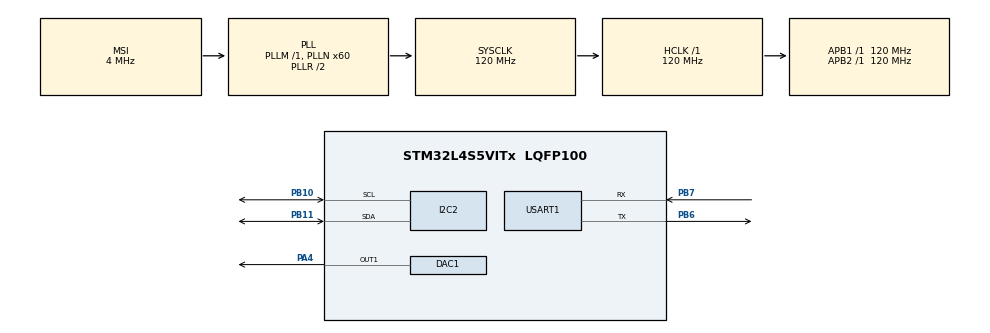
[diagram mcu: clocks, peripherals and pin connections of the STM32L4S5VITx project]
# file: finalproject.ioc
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DAC1.DAC_Trigger-DAC_OUT1=DAC_TRIGGER_T2_TRGO
Dma.DAC1_CH1.0.Direction=DMA_MEMORY_TO_PERIPH
Dma.DAC1_CH1.0.EventEnable=DISABLE
Dma.DAC1_CH1.0.Instance=DMA1_Channel1
Dma.DAC1_CH1.0.MemDataAlignment=DMA_MDATAALIGN_BYTE
Dma.DAC1_CH1.0.MemInc=DMA_MINC_ENABLE
Dma.DAC1_CH1.0.Mode=DMA_CIRCULAR
Dma.DAC1_CH1.0.PeriphDataAlignment=DMA_PDATAALIGN_BYTE
Dma.DAC1_CH1.0.PeriphInc=DMA_PINC_DISABLE
Dma.DAC1_CH1.0.Polarity=HAL_DMAMUX_REQUEST_GEN_RISING
Dma.DAC1_CH1.0.Priority=DMA_PRIORITY_LOW
Dma.DAC1_CH1.0.RequestNumber=1
Dma.DAC1_CH1.0.SignalID=NONE
Dma.DAC1_CH1.0.SyncEnable=DISABLE
Dma.DAC1_CH1.0.SyncPolarity=HAL_DMAMUX_SYNC_NO_EVENT
Dma.DAC1_CH1.0.SyncRequestNumber=1
Dma.DAC1_CH1.0.SyncSignalID=NONE
Dma.Request0=DAC1_CH1
I2C2.Timing=0x307075B1
Mcu.Family=STM32L4
Mcu.Name=STM32L4S5VITx
Mcu.Package=LQFP100
NVIC.DMA1_Channel1_IRQn=true\:0\:0\:false\:false\:true\:false\:true
NVIC.PriorityGroup=NVIC_PRIORITYGROUP_4
NVIC.TIM2_IRQn=true\:0\:0\:false\:false\:true\:true\:true
PA4.Signal=COMP_DAC11_group
PB10.Mode=I2C
PB10.Signal=I2C2_SCL
PB11.Mode=I2C
PB11.Signal=I2C2_SDA
PB6.Mode=Asynchronous
PB6.Signal=USART1_TX
PB7.Mode=Asynchronous
PB7.Signal=USART1_RX
ProjectManager.HeapSize=0x200
ProjectManager.StackSize=0x400
ProjectManager.TargetToolchain=STM32CubeIDE
RCC.ADCFreq_Value=48000000
RCC.AHBFreq_Value=120000000
RCC.APB1Freq_Value=120000000
RCC.APB1TimFreq_Value=120000000
RCC.APB2Freq_Value=120000000
RCC.APB2TimFreq_Value=120000000
RCC.CortexFreq_Value=120000000
RCC.HCLKFreq_Value=120000000
RCC.HSE_VALUE=8000000
RCC.HSI48_VALUE=48000000
RCC.HSI_VALUE=16000000
RCC.LSE_VALUE=32768
RCC.MSI_VALUE=4000000
RCC.PLLN=60
RCC.PLLSAI1N=24
RCC.SYSCLKFreq_VALUE=120000000
RCC.SYSCLKSource=RCC_SYSCLKSOURCE_PLLCLK
RCC.USBFreq_Value=48000000
RCC.VCOOutputFreq_Value=240000000
SH.COMP_DAC11_group.0=DAC1_OUT1,DAC_OUT1
TIM2.Period=1814
TIM2.TIM_MasterOutputTrigger=TIM_TRGO_UPDATE
USART1.VirtualMode-Asynchronous=VM_ASYNC
VP_TIM2_VS_ClockSourceINT.Mode=Internal
board=B-L4S5I-IOT01A

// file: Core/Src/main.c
/* USER CODE BEGIN Header */
/**
 ******************************************************************************
 * @file           : main.c
 * @brief          : Main program body
 ******************************************************************************
 * @attention
 *
 * <h2><center>&copy; Copyright (c) 2021 STMicroelectronics.
 * All rights reserved.</center></h2>
 *
 * This software component is licensed by ST under BSD 3-Clause license,
 * the "License"; You may not use this file except in compliance with the
 * License. You may obtain a copy of the License at:
 *                        opensource.org/licenses/BSD-3-Clause
 *
 ******************************************************************************
 */
/* USER CODE END Header */
#include "main.h"

DAC_HandleTypeDef hdac1;
DMA_HandleTypeDef hdma_dac1_ch1;

I2C_HandleTypeDef hi2c2;

TIM_HandleTypeDef htim2;

UART_HandleTypeDef huart1;

/* USER CODE BEGIN PV */
char global_buffer[100]; 				//buffer for usart transmission
char note_name[2]; 						//holds name of the current note as a string

int16_t accelero_values[3]; 			//temp array for accelerometer values
int16_t old_accelero_values[3]; 		//keep track of last accelero values for calculating change
float difference_values[3]; 			//calculating the difference values between accelerometer readings
float filtred_difference_values[3]; 	//difference values after being passed through kalman filtre

struct kalman_filtre y_pitch_filtre; 	//kalman filtre for pitch
struct kalman_filtre z_volume_filtre; 	//kalman filtre for volume

int current_note = 0; 					//for keeping track of which note is playing
int current_volume = 4; 				//for keeping track of volume level, 5 levels of volume from 0 to 4

//sample arrays for pitches, each note has 5 arrays, one for each of the volume levels, there are 8 notes total
uint8_t C6_samples_v0[43];
uint8_t C6_samples_v1[43];
uint8_t C6_samples_v2[43];
uint8_t C6_samples_v3[43];
uint8_t C6_samples_v4[43];

uint8_t D6_samples_v0[36];
uint8_t D6_samples_v1[36];
uint8_t D6_samples_v2[36];
uint8_t D6_samples_v3[36];
uint8_t D6_samples_v4[36];

uint8_t E6_samples_v0[33];
uint8_t E6_samples_v1[33];
uint8_t E6_samples_v2[33];
uint8_t E6_samples_v3[33];
uint8_t E6_samples_v4[33];

uint8_t F6_samples_v0[30];
uint8_t F6_samples_v1[30];
uint8_t F6_samples_v2[30];
uint8_t F6_samples_v3[30];
uint8_t F6_samples_v4[30];

uint8_t G6_samples_v0[27];
uint8_t G6_samples_v1[27];
uint8_t G6_samples_v2[27];
uint8_t G6_samples_v3[27];
uint8_t G6_samples_v4[27];

uint8_t A6_samples_v0[24];
uint8_t A6_samples_v1[24];
uint8_t A6_samples_v2[24];
uint8_t A6_samples_v3[24];
uint8_t A6_samples_v4[24];

uint8_t B6_samples_v0[21];
uint8_t B6_samples_v1[21];
uint8_t B6_samples_v2[21];
uint8_t B6_samples_v3[21];
uint8_t B6_samples_v4[21];

uint8_t C7_samples_v0[20];
uint8_t C7_samples_v1[20];
uint8_t C7_samples_v2[20];
uint8_t C7_samples_v3[20];
uint8_t C7_samples_v4[20];

/* USER CODE END PV */

void SystemClock_Config(void);
static void MX_GPIO_Init(void);
static void MX_DMA_Init(void);
static void MX_DAC1_Init(void);
static void MX_I2C2_Init(void);
static void MX_USART1_UART_Init(void);
static void MX_TIM2_Init(void);

/* USER CODE BEGIN 0 */

/**
 *  The note/volume array populator function. There are 8 populator functions which sample a cmsis sine wave
 *  a hardcoded amount of time. Each populator function fills the arrays at for all volume levels.
 *
 *  @params:
 *    none
 *  @return:
 *    none
 */

// populate the sine wave sampling array for a C6 tone
void C6_sample_populator() {
	for (int i = 0; i < 43; i++) {					//iterate a specified amount of times depending on the notes frequency
		float modulus = (float) i / 43;
		float radians = 6.283185 * modulus;
		radians = (arm_sin_f32(radians) + 1);		//sample using the cmsis sine function
		C6_samples_v0[i] = (uint8_t) radians * 1;	//populate the arrays for all volume levels
		C6_samples_v1[i] = (uint8_t) radians * 22;
		C6_samples_v2[i] = (uint8_t) radians * 43;
		C6_samples_v3[i] = (uint8_t) radians * 64;
		C6_samples_v4[i] = (uint8_t) radians * 85;
	}
}

// populate the sine wave sampling array for a D6 tone
void D6_sample_populator() {
	for (int i = 0; i < 36; i++) {
		float modulus = (float) i / 36;
		float radians = 6.283185 * modulus;
		radians = (arm_sin_f32(radians) + 1);
		D6_samples_v0[i] = (uint8_t) radians * 1;
		D6_samples_v1[i] = (uint8_t) radians * 22;
		D6_samples_v2[i] = (uint8_t) radians * 43;
		D6_samples_v3[i] = (uint8_t) radians * 64;
		D6_samples_v4[i] = (uint8_t) radians * 85;
	}
}

// populate the sine wave sampling array for an E6 tone
void E6_sample_populator() {
	for (int i = 0; i < 33; i++) {
		float modulus = (float) i / 33;
		float radians = 6.283185 * modulus;
		radians = (arm_sin_f32(radians) + 1);
		E6_samples_v0[i] = (uint8_t) radians * 1;
		E6_samples_v1[i] = (uint8_t) radians * 22;
		E6_samples_v2[i] = (uint8_t) radians * 43;
		E6_samples_v3[i] = (uint8_t) radians * 64;
		E6_samples_v4[i] = (uint8_t) radians * 85;
	}
}

// populate the sine wave sampling array for an F6 tone
void F6_sample_populator() {
	for (int i = 0; i < 30; i++) {
		float modulus = (float) i / 30;
		float radians = 6.283185 * modulus;
		radians = (arm_sin_f32(radians) + 1);
		F6_samples_v0[i] = (uint8_t) radians * 1;
		F6_samples_v1[i] = (uint8_t) radians * 22;
		F6_samples_v2[i] = (uint8_t) radians * 43;
		F6_samples_v3[i] = (uint8_t) radians * 64;
		F6_samples_v4[i] = (uint8_t) radians * 85;
	}
}

// populate the sine wave sampling array for a G6 tone
void G6_sample_populator() {
	for (int i = 0; i < 27; i++) {
		float modulus = (float) i / 27;
		float radians = 6.283185 * modulus;
		radians = (arm_sin_f32(radians) + 1);
		G6_samples_v0[i] = (uint8_t) radians * 1;
		G6_samples_v1[i] = (uint8_t) radians * 22;
		G6_samples_v2[i] = (uint8_t) radians * 43;
		G6_samples_v3[i] = (uint8_t) radians * 64;
		G6_samples_v4[i] = (uint8_t) radians * 85;
	}

}

// populate the sine wave sampling array for an A6 tone
void A6_sample_populator() {
	for (int i = 0; i < 24; i++) {
		float modulus = (float) i / 24;
		float radians = 6.283185 * modulus;
		radians = (arm_sin_f32(radians) + 1);
		A6_samples_v0[i] = (uint8_t) radians * 1;
		A6_samples_v1[i] = (uint8_t) radians * 22;
		A6_samples_v2[i] = (uint8_t) radians * 43;
		A6_samples_v3[i] = (uint8_t) radians * 64;
		A6_samples_v4[i] = (uint8_t) radians * 85;
	}
}

// populate the sine wave sampling array for an B6 tone
void B6_sample_populator() {
	for (int i = 0; i < 21; i++) {
		float modulus = (float) i / 21;
		float radians = 6.283185 * modulus;
		radians = (arm_sin_f32(radians) + 1);
		B6_samples_v0[i] = (uint8_t) radians * 1;
		B6_samples_v1[i] = (uint8_t) radians * 22;
		B6_samples_v2[i] = (uint8_t) radians * 43;
		B6_samples_v3[i] = (uint8_t) radians * 64;
		B6_samples_v4[i] = (uint8_t) radians * 85;
	}
}

// populate the sine wave sampling array for an C7 tone
void C7_sample_populator() {
	for (int i = 0; i < 20; i++) {
		float modulus = (float) i / 20;
		float radians = 6.283185 * modulus;
		radians = (arm_sin_f32(radians) + 1);
		C7_samples_v0[i] = (uint8_t) radians * 1;
		C7_samples_v1[i] = (uint8_t) radians * 22;
		C7_samples_v2[i] = (uint8_t) radians * 43;
		C7_samples_v3[i] = (uint8_t) radians * 64;
		C7_samples_v4[i] = (uint8_t) radians * 85;
	}
}

/**
 *  Calculates changes in values of the accelerometer axes and increments the global
 *  note and volume counters accordingly.
 *
 *  @params:
 *    old_accelero_values[3]:	accelerometer values from the previous iteration
 *    new_accelero_values[3]:	accelerometer values from the current iteration
 *  @return:
 *    none
 */
void pitch_volume_changer(int16_t old_accelero_values[3], int16_t new_accelero_values[3]) {

	//calculate the difference between the old and new values
	difference_values[0] = new_accelero_values[0] - old_accelero_values[0];
	difference_values[1] = new_accelero_values[1] - old_accelero_values[1];
	difference_values[2] = new_accelero_values[2] - old_accelero_values[2];

	//filtre the differences using a kalman filtre, one for each aix
	filtred_difference_values[1] = 100 * c_kalman_update(&y_pitch_filtre, difference_values[1]);
	filtred_difference_values[2] = 100 * c_kalman_update(&z_volume_filtre, difference_values[2]);

	//bounds for changes in acceleration to change note, uses y coordinate
	if ((filtred_difference_values[1] > 25) || (filtred_difference_values[1] < -25)) {
		if ((filtred_difference_values[1] > 0) && (current_note > 0) && (filtred_difference_values[1] < 100)) {
			current_note -= 1;
		} else if ((filtred_difference_values[1] < 0) && (current_note < 7) && (filtred_difference_values[1] > -100)) {
			current_note += 1;
		}
	}
	//bounds for changes in acceleration to change volume, uses z coordinate
	if ((filtred_difference_values[2] > 35) || (filtred_difference_values[2] < -35)) {
		if ((filtred_difference_values[2] < 0) && (current_volume > 0) && (filtred_difference_values[2] < 100)) {
			current_volume -= 1;
		} else if ((filtred_difference_values[2] > 0) && (current_volume < 4) && (filtred_difference_values[2] > -100)) {
			current_volume += 1;
		}
	}
}

/**
 *  Translates the note iterator to one of the sample arrays to be sent to the DAC. Sets the note name for output to
 *  the UART and drives the DAC using DMA
 *
 *  @params:
 *    none
 *  @return:
 *    none
 */
void pitch_volume_setter() {
	uint8_t *pitch_pointer; 			//pointer for the desired global note/volume array, needed to pass data to DAC
	int sample_size; 					//number of samples for a given note, needed to pass data to DAC

	switch (current_note) {

	//note C6
	case 0:
		strncpy(note_name, "C6", 2); 	//copy note name to global array for UART output
		sample_size = 43; 				//set the number of samples for the given note
		switch (current_volume) { 		//nested switch statements for the volume arrays
		case 0:
			pitch_pointer = C6_samples_v0;
			break;
		case 1:
			pitch_pointer = C6_samples_v1;
			break;
		case 2:
			pitch_pointer = C6_samples_v2;
			break;
		case 3:
			pitch_pointer = C6_samples_v3;
			break;
		case 4:
			pitch_pointer = C6_samples_v4;
			break;
		}
		break;

	//note D6
	case 1:
		strncpy(note_name, "D6", 2);
		sample_size = 36;
		switch (current_volume) {
		case 0:
			pitch_pointer = D6_samples_v0;
			break;
		case 1:
			pitch_pointer = D6_samples_v1;
			break;
		case 2:
			pitch_pointer = D6_samples_v2;
			break;
		case 3:
			pitch_pointer = D6_samples_v3;
			break;
		case 4:
			pitch_pointer = D6_samples_v4;
			break;
		}
		break;

	//note E6
	case 2:
		strncpy(note_name, "E6", 2);
		sample_size = 33;
		switch (current_volume) {
		case 0:
			pitch_pointer = E6_samples_v0;
			break;
		case 1:
			pitch_pointer = E6_samples_v1;
			break;
		case 2:
			pitch_pointer = E6_samples_v2;
			break;
		case 3:
			pitch_pointer = E6_samples_v3;
			break;
		case 4:
			pitch_pointer = E6_samples_v4;
			break;
		}

		break;

	//note F6
	case 3:
		strncpy(note_name, "F6", 2);
		sample_size = 30;
		switch (current_volume) {
		case 0:
			pitch_pointer = F6_samples_v0;
			break;
		case 1:
			pitch_pointer = F6_samples_v1;
			break;
		case 2:
			pitch_pointer = F6_samples_v2;
			break;
		case 3:
			pitch_pointer = F6_samples_v3;
			break;
		case 4:
			pitch_pointer = F6_samples_v4;
			break;
		}
		break;

	//note G6
	case 4:
		strncpy(note_name, "G6", 2);
		sample_size = 27;
		switch (current_volume) {
		case 0:
			pitch_pointer = G6_samples_v0;
			break;
		case 1:
			pitch_pointer = G6_samples_v1;
			break;
		case 2:
			pitch_pointer = G6_samples_v2;
			break;
		case 3:
			pitch_pointer = G6_samples_v3;
			break;
		case 4:
			pitch_pointer = G6_samples_v4;
			break;
		}
		break;

	//note A6
	case 5:
		strncpy(note_name, "A6", 2);
		sample_size = 24;
		switch (current_volume) {
		case 0:
			pitch_pointer = A6_samples_v0;
			break;
		case 1:
			pitch_pointer = A6_samples_v1;
			break;
		case 2:
			pitch_pointer = A6_samples_v2;
			break;
		case 3:
			pitch_pointer = A6_samples_v3;
			break;
		case 4:
			pitch_pointer = A6_samples_v4;
			break;
		}
		break;

	//note B2
	case 6:
		strncpy(note_name, "B6", 2);
		sample_size = 21;
		switch (current_volume) {
		case 0:
			pitch_pointer = B6_samples_v0;
			break;
		case 1:
			pitch_pointer = B6_samples_v1;
			break;
		case 2:
			pitch_pointer = B6_samples_v2;
			break;
		case 3:
			pitch_pointer = B6_samples_v3;
			break;
		case 4:
			pitch_pointer = B6_samples_v4;
			break;
		}
		break;

	// note C7
	case 7:
		strncpy(note_name, "C7", 2);
		sample_size = 20;
		switch (current_volume) {
		case 0:
			pitch_pointer = C7_samples_v0;
			break;
		case 1:
			pitch_pointer = C7_samples_v1;
			break;
		case 2:
			pitch_pointer = C7_samples_v2;
			break;
		case 3:
			pitch_pointer = C7_samples_v3;
			break;
		case 4:
			pitch_pointer = C7_samples_v4;
			break;
		}
		break;

	}

	//using DMA, drive the desired note/volume array to the DAC to be played on the speaker
	HAL_DAC_Stop_DMA(&hdac1, DAC_CHANNEL_1);
	HAL_DAC_Start_DMA(&hdac1, DAC_CHANNEL_1, pitch_pointer, sample_size, DAC_ALIGN_8B_R);
}

/* USER CODE END 0 */

int main(void) {

	/* MCU Configuration--------------------------------------------------------*/

	/* Reset of all peripherals, Initializes the Flash interface and the Systick. */
	HAL_Init();

	/* Configure the system clock */
	SystemClock_Config();

	/* Initialize all configured peripherals */
	MX_GPIO_Init();
	MX_DMA_Init();
	MX_DAC1_Init();
	MX_I2C2_Init();
	MX_USART1_UART_Init();
	MX_TIM2_Init();
	/* USER CODE BEGIN 2 */
	BSP_ACCELERO_Init();					//initialize the I2C accelerometer

	HAL_TIM_Base_Start_IT(&htim2);			//initialize the DAC
	HAL_DAC_Start(&hdac1, DAC_CHANNEL_1);

	C6_sample_populator();					//populate all arrays
	D6_sample_populator();
	E6_sample_populator();
	F6_sample_populator();
	G6_sample_populator();
	A6_sample_populator();
	B6_sample_populator();
	C7_sample_populator();
	/* USER CODE END 2 */

	/* Infinite loop */
	/* USER CODE BEGIN WHILE */

	float q = 0;							//initialize kalman filtres
	float r = 0.1;
	float x = 0;
	float p = 0.1;
	float k = 0.1;

	y_pitch_filtre = create_filtre(q, r, x, p, k);
	z_volume_filtre = create_filtre(q, r, x, p, k);

	//this copy of the while loop logic below is done in order to ensure the speaker plays immediately on startup
	BSP_ACCELERO_AccGetXYZ(accelero_values);											//get accelermeter values

	memset(global_buffer, 0, sizeof(global_buffer));									//message to print to UART
	sprintf(global_buffer, "\rCurrent note: %c%c Current volume: %d \n", note_name[0], note_name[1], current_volume);

	HAL_DAC_Start_DMA(&hdac1, DAC_CHANNEL_1, C6_samples_v4, 43, DAC_ALIGN_8B_R);		//initialize DAC DMA to read from max volume C6

	HAL_UART_Transmit(&huart1, (uint8_t*) global_buffer, sizeof(global_buffer), 500);	//drive output to UART
	old_accelero_values[0] = accelero_values[0];										//cycle between the old and new acceleometer values
	old_accelero_values[1] = accelero_values[1];
	old_accelero_values[2] = accelero_values[2];
	HAL_Delay(500);

	while (1) {
		/* USER CODE END WHILE */

		/* USER CODE BEGIN 3 */

		//largely the same logic from the block before the while loop
		BSP_ACCELERO_AccGetXYZ(accelero_values);
		memset(global_buffer, 0, sizeof(global_buffer));
		sprintf(global_buffer, "\rCurrent note: %c%c Current volume: %d \n", note_name[0], note_name[1], current_volume);

		//Continuously call the changer and setter functions to detect changes in acceleration and play a new note or volume if needed
		//DAC is driven from the setter function
		pitch_volume_changer(old_accelero_values, accelero_values);
		pitch_volume_setter();

		HAL_UART_Transmit(&huart1, (uint8_t*) global_buffer, sizeof(global_buffer), 500);
		old_accelero_values[0] = accelero_values[0];
		old_accelero_values[1] = accelero_values[1];
		old_accelero_values[2] = accelero_values[2];
		HAL_Delay(500);
	}
	/* USER CODE END 3 */
}

void SystemClock_Config(void) {
	RCC_OscInitTypeDef RCC_OscInitStruct = { 0 };
	RCC_ClkInitTypeDef RCC_ClkInitStruct = { 0 };
	RCC_PeriphCLKInitTypeDef PeriphClkInit = { 0 };

	/** Configure the main internal regulator output voltage
	 */
	if (HAL_PWREx_ControlVoltageScaling(PWR_REGULATOR_VOLTAGE_SCALE1_BOOST)
			!= HAL_OK) {
		Error_Handler();
	}
	/** Initializes the RCC Oscillators according to the specified parameters
	 * in the RCC_OscInitTypeDef structure.
	 */
	RCC_OscInitStruct.OscillatorType = RCC_OSCILLATORTYPE_MSI;
	RCC_OscInitStruct.MSIState = RCC_MSI_ON;
	RCC_OscInitStruct.MSICalibrationValue = 0;
	RCC_OscInitStruct.MSIClockRange = RCC_MSIRANGE_6;
	RCC_OscInitStruct.PLL.PLLState = RCC_PLL_ON;
	RCC_OscInitStruct.PLL.PLLSource = RCC_PLLSOURCE_MSI;
	RCC_OscInitStruct.PLL.PLLM = 1;
	RCC_OscInitStruct.PLL.PLLN = 60;
	RCC_OscInitStruct.PLL.PLLP = RCC_PLLP_DIV2;
	RCC_OscInitStruct.PLL.PLLQ = RCC_PLLQ_DIV2;
	RCC_OscInitStruct.PLL.PLLR = RCC_PLLR_DIV2;
	if (HAL_RCC_OscConfig(&RCC_OscInitStruct) != HAL_OK) {
		Error_Handler();
	}
	/** Initializes the CPU, AHB and APB buses clocks
	 */
	RCC_ClkInitStruct.ClockType = RCC_CLOCKTYPE_HCLK | RCC_CLOCKTYPE_SYSCLK
			| RCC_CLOCKTYPE_PCLK1 | RCC_CLOCKTYPE_PCLK2;
	RCC_ClkInitStruct.SYSCLKSource = RCC_SYSCLKSOURCE_PLLCLK;
	RCC_ClkInitStruct.AHBCLKDivider = RCC_SYSCLK_DIV1;
	RCC_ClkInitStruct.APB1CLKDivider = RCC_HCLK_DIV1;
	RCC_ClkInitStruct.APB2CLKDivider = RCC_HCLK_DIV1;

	if (HAL_RCC_ClockConfig(&RCC_ClkInitStruct, FLASH_LATENCY_5) != HAL_OK) {
		Error_Handler();
	}
	PeriphClkInit.PeriphClockSelection = RCC_PERIPHCLK_USART1
			| RCC_PERIPHCLK_I2C2;
	PeriphClkInit.Usart1ClockSelection = RCC_USART1CLKSOURCE_PCLK2;
	PeriphClkInit.I2c2ClockSelection = RCC_I2C2CLKSOURCE_PCLK1;
	if (HAL_RCCEx_PeriphCLKConfig(&PeriphClkInit) != HAL_OK) {
		Error_Handler();
	}
}

static void MX_DAC1_Init(void) {

	DAC_ChannelConfTypeDef sConfig = { 0 };

	/** DAC Initialization
	 */
	hdac1.Instance = DAC1;
	if (HAL_DAC_Init(&hdac1) != HAL_OK) {
		Error_Handler();
	}
	/** DAC channel OUT1 config
	 */
	sConfig.DAC_SampleAndHold = DAC_SAMPLEANDHOLD_DISABLE;
	sConfig.DAC_Trigger = DAC_TRIGGER_T2_TRGO;
	sConfig.DAC_HighFrequency = DAC_HIGH_FREQUENCY_INTERFACE_MODE_DISABLE;
	sConfig.DAC_OutputBuffer = DAC_OUTPUTBUFFER_ENABLE;
	sConfig.DAC_ConnectOnChipPeripheral = DAC_CHIPCONNECT_DISABLE;
	sConfig.DAC_UserTrimming = DAC_TRIMMING_FACTORY;
	if (HAL_DAC_ConfigChannel(&hdac1, &sConfig, DAC_CHANNEL_1) != HAL_OK) {
		Error_Handler();
	}

}

static void MX_I2C2_Init(void) {

	hi2c2.Instance = I2C2;
	hi2c2.Init.Timing = 0x307075B1;
	hi2c2.Init.OwnAddress1 = 0;
	hi2c2.Init.AddressingMode = I2C_ADDRESSINGMODE_7BIT;
	hi2c2.Init.DualAddressMode = I2C_DUALADDRESS_DISABLE;
	hi2c2.Init.OwnAddress2 = 0;
	hi2c2.Init.OwnAddress2Masks = I2C_OA2_NOMASK;
	hi2c2.Init.GeneralCallMode = I2C_GENERALCALL_DISABLE;
	hi2c2.Init.NoStretchMode = I2C_NOSTRETCH_DISABLE;
	if (HAL_I2C_Init(&hi2c2) != HAL_OK) {
		Error_Handler();
	}
	/** Configure Analogue filter
	 */
	if (HAL_I2CEx_ConfigAnalogFilter(&hi2c2, I2C_ANALOGFILTER_ENABLE)
			!= HAL_OK) {
		Error_Handler();
	}
	/** Configure Digital filter
	 */
	if (HAL_I2CEx_ConfigDigitalFilter(&hi2c2, 0) != HAL_OK) {
		Error_Handler();
	}

}

static void MX_TIM2_Init(void) {

	TIM_ClockConfigTypeDef sClockSourceConfig = { 0 };
	TIM_MasterConfigTypeDef sMasterConfig = { 0 };

	htim2.Instance = TIM2;
	htim2.Init.Prescaler = 0;
	htim2.Init.CounterMode = TIM_COUNTERMODE_UP;
	htim2.Init.Period = 1814;
	htim2.Init.ClockDivision = TIM_CLOCKDIVISION_DIV1;
	htim2.Init.AutoReloadPreload = TIM_AUTORELOAD_PRELOAD_DISABLE;
	if (HAL_TIM_Base_Init(&htim2) != HAL_OK) {
		Error_Handler();
	}
	sClockSourceConfig.ClockSource = TIM_CLOCKSOURCE_INTERNAL;
	if (HAL_TIM_ConfigClockSource(&htim2, &sClockSourceConfig) != HAL_OK) {
		Error_Handler();
	}
	sMasterConfig.MasterOutputTrigger = TIM_TRGO_UPDATE;
	sMasterConfig.MasterSlaveMode = TIM_MASTERSLAVEMODE_DISABLE;
	if (HAL_TIMEx_MasterConfigSynchronization(&htim2, &sMasterConfig)
			!= HAL_OK) {
		Error_Handler();
	}

}

static void MX_USART1_UART_Init(void) {

	huart1.Instance = USART1;
	huart1.Init.BaudRate = 115200;
	huart1.Init.WordLength = UART_WORDLENGTH_8B;
	huart1.Init.StopBits = UART_STOPBITS_1;
	huart1.Init.Parity = UART_PARITY_NONE;
	huart1.Init.Mode = UART_MODE_TX_RX;
	huart1.Init.HwFlowCtl = UART_HWCONTROL_NONE;
	huart1.Init.OverSampling = UART_OVERSAMPLING_16;
	huart1.Init.OneBitSampling = UART_ONE_BIT_SAMPLE_DISABLE;
	huart1.Init.ClockPrescaler = UART_PRESCALER_DIV1;
	huart1.AdvancedInit.AdvFeatureInit = UART_ADVFEATURE_NO_INIT;
	if (HAL_UART_Init(&huart1) != HAL_OK) {
		Error_Handler();
	}
	if (HAL_UARTEx_SetTxFifoThreshold(&huart1, UART_TXFIFO_THRESHOLD_1_8)
			!= HAL_OK) {
		Error_Handler();
	}
	if (HAL_UARTEx_SetRxFifoThreshold(&huart1, UART_RXFIFO_THRESHOLD_1_8)
			!= HAL_OK) {
		Error_Handler();
	}
	if (HAL_UARTEx_DisableFifoMode(&huart1) != HAL_OK) {
		Error_Handler();
	}

}

static void MX_DMA_Init(void) {

	/* DMA controller clock enable */
	__HAL_RCC_DMAMUX1_CLK_ENABLE();
	__HAL_RCC_DMA1_CLK_ENABLE();

	/* DMA interrupt init */
	/* DMA1_Channel1_IRQn interrupt configuration */
	HAL_NVIC_SetPriority(DMA1_Channel1_IRQn, 0, 0);
	HAL_NVIC_EnableIRQ(DMA1_Channel1_IRQn);

}

static void MX_GPIO_Init(void) {

	/* GPIO Ports Clock Enable */
	__HAL_RCC_GPIOA_CLK_ENABLE();
	__HAL_RCC_GPIOB_CLK_ENABLE();

}

void Error_Handler(void) {
	__disable_irq();
}

/************************ (C) COPYRIGHT STMicroelectronics *****END OF FILE****/
